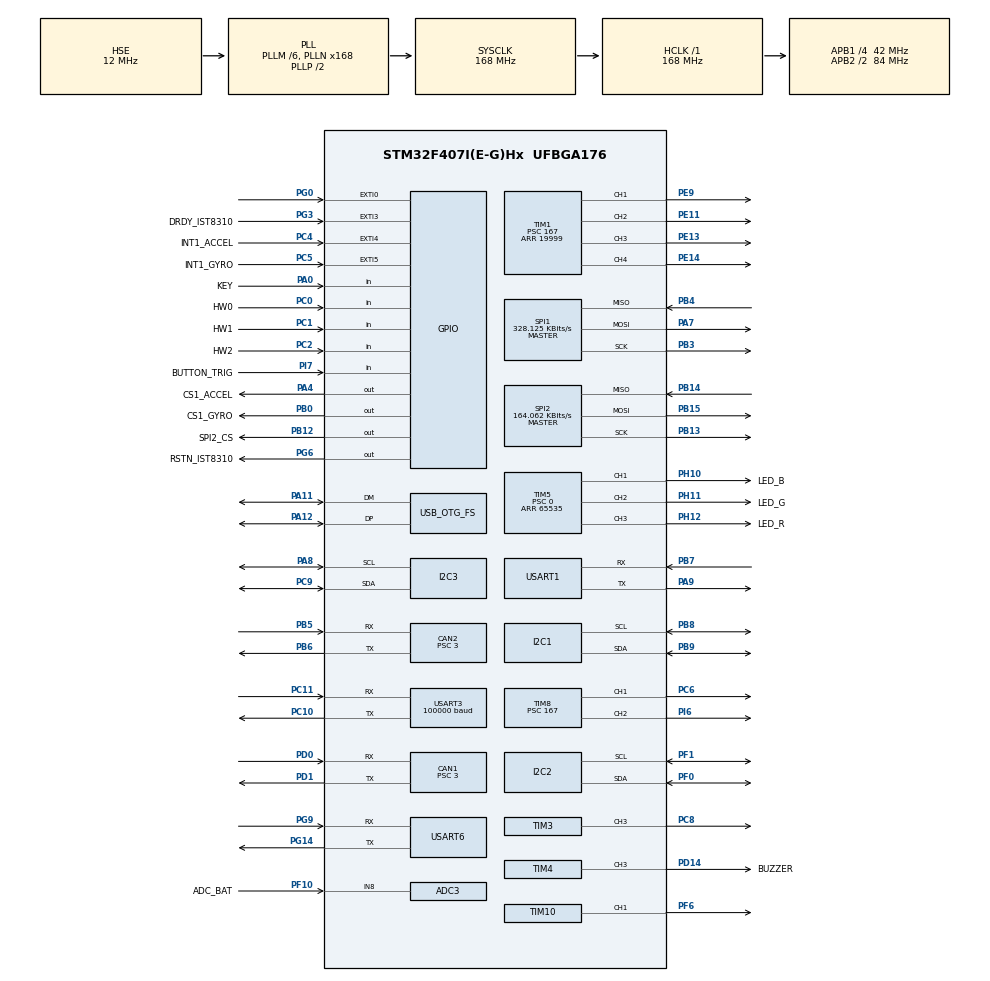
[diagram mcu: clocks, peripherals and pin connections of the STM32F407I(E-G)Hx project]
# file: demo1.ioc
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ADC1.Channel-0\#ChannelRegularConversion=ADC_CHANNEL_TEMPSENSOR
ADC1.ClockPrescaler=ADC_CLOCK_SYNC_PCLK_DIV6
ADC1.NbrOfConversionFlag=1
ADC1.Rank-0\#ChannelRegularConversion=1
ADC1.SamplingTime-0\#ChannelRegularConversion=ADC_SAMPLETIME_3CYCLES
ADC1.master=1
ADC3.Channel-0\#ChannelRegularConversion=ADC_CHANNEL_8
ADC3.ClockPrescaler=ADC_CLOCK_SYNC_PCLK_DIV6
ADC3.NbrOfConversionFlag=1
ADC3.Rank-0\#ChannelRegularConversion=1
ADC3.SamplingTime-0\#ChannelRegularConversion=ADC_SAMPLETIME_3CYCLES
CAN1.BS1=CAN_BS1_10TQ
CAN1.BS2=CAN_BS2_3TQ
CAN1.CalculateTimeQuantum=71.42857142857143
CAN1.Prescaler=3
CAN2.BS1=CAN_BS1_10TQ
CAN2.BS2=CAN_BS2_3TQ
CAN2.CalculateTimeQuantum=71.42857142857143
CAN2.Prescaler=3
Dma.I2C2_TX.2.Direction=DMA_MEMORY_TO_PERIPH
Dma.I2C2_TX.2.FIFOMode=DMA_FIFOMODE_DISABLE
Dma.I2C2_TX.2.Instance=DMA1_Stream7
Dma.I2C2_TX.2.MemDataAlignment=DMA_MDATAALIGN_BYTE
Dma.I2C2_TX.2.MemInc=DMA_MINC_ENABLE
Dma.I2C2_TX.2.Mode=DMA_NORMAL
Dma.I2C2_TX.2.PeriphDataAlignment=DMA_PDATAALIGN_BYTE
Dma.I2C2_TX.2.PeriphInc=DMA_PINC_DISABLE
Dma.I2C2_TX.2.Priority=DMA_PRIORITY_HIGH
Dma.Request0=SPI1_RX
Dma.Request1=SPI1_TX
Dma.Request2=I2C2_TX
Dma.Request3=USART3_RX
Dma.Request4=USART6_RX
Dma.Request5=USART6_TX
Dma.Request6=USART1_TX
Dma.SPI1_RX.0.Direction=DMA_PERIPH_TO_MEMORY
Dma.SPI1_RX.0.FIFOMode=DMA_FIFOMODE_DISABLE
Dma.SPI1_RX.0.Instance=DMA2_Stream2
Dma.SPI1_RX.0.MemDataAlignment=DMA_MDATAALIGN_BYTE
Dma.SPI1_RX.0.MemInc=DMA_MINC_ENABLE
Dma.SPI1_RX.0.Mode=DMA_NORMAL
Dma.SPI1_RX.0.PeriphDataAlignment=DMA_PDATAALIGN_BYTE
Dma.SPI1_RX.0.PeriphInc=DMA_PINC_DISABLE
Dma.SPI1_RX.0.Priority=DMA_PRIORITY_VERY_HIGH
Dma.SPI1_TX.1.Direction=DMA_MEMORY_TO_PERIPH
Dma.SPI1_TX.1.FIFOMode=DMA_FIFOMODE_DISABLE
Dma.SPI1_TX.1.Instance=DMA2_Stream3
Dma.SPI1_TX.1.MemDataAlignment=DMA_MDATAALIGN_BYTE
Dma.SPI1_TX.1.MemInc=DMA_MINC_ENABLE
Dma.SPI1_TX.1.Mode=DMA_NORMAL
Dma.SPI1_TX.1.PeriphDataAlignment=DMA_PDATAALIGN_BYTE
Dma.SPI1_TX.1.PeriphInc=DMA_PINC_DISABLE
Dma.SPI1_TX.1.Priority=DMA_PRIORITY_HIGH
Dma.USART1_TX.6.Direction=DMA_MEMORY_TO_PERIPH
Dma.USART1_TX.6.FIFOMode=DMA_FIFOMODE_DISABLE
Dma.USART1_TX.6.Instance=DMA2_Stream7
Dma.USART1_TX.6.MemDataAlignment=DMA_MDATAALIGN_BYTE
Dma.USART1_TX.6.MemInc=DMA_MINC_ENABLE
Dma.USART1_TX.6.Mode=DMA_NORMAL
Dma.USART1_TX.6.PeriphDataAlignment=DMA_PDATAALIGN_BYTE
Dma.USART1_TX.6.PeriphInc=DMA_PINC_DISABLE
Dma.USART1_TX.6.Priority=DMA_PRIORITY_MEDIUM
Dma.USART3_RX.3.Direction=DMA_PERIPH_TO_MEMORY
Dma.USART3_RX.3.FIFOMode=DMA_FIFOMODE_DISABLE
Dma.USART3_RX.3.Instance=DMA1_Stream1
Dma.USART3_RX.3.MemDataAlignment=DMA_MDATAALIGN_BYTE
Dma.USART3_RX.3.MemInc=DMA_MINC_ENABLE
Dma.USART3_RX.3.Mode=DMA_NORMAL
Dma.USART3_RX.3.PeriphDataAlignment=DMA_PDATAALIGN_BYTE
Dma.USART3_RX.3.PeriphInc=DMA_PINC_DISABLE
Dma.USART3_RX.3.Priority=DMA_PRIORITY_HIGH
Dma.USART6_RX.4.Direction=DMA_PERIPH_TO_MEMORY
Dma.USART6_RX.4.FIFOMode=DMA_FIFOMODE_DISABLE
Dma.USART6_RX.4.Instance=DMA2_Stream1
Dma.USART6_RX.4.MemDataAlignment=DMA_MDATAALIGN_BYTE
Dma.USART6_RX.4.MemInc=DMA_MINC_ENABLE
Dma.USART6_RX.4.Mode=DMA_NORMAL
Dma.USART6_RX.4.PeriphDataAlignment=DMA_PDATAALIGN_BYTE
Dma.USART6_RX.4.PeriphInc=DMA_PINC_DISABLE
Dma.USART6_RX.4.Priority=DMA_PRIORITY_HIGH
Dma.USART6_TX.5.Direction=DMA_MEMORY_TO_PERIPH
Dma.USART6_TX.5.FIFOMode=DMA_FIFOMODE_DISABLE
Dma.USART6_TX.5.Instance=DMA2_Stream6
Dma.USART6_TX.5.MemDataAlignment=DMA_MDATAALIGN_BYTE
Dma.USART6_TX.5.MemInc=DMA_MINC_ENABLE
Dma.USART6_TX.5.Mode=DMA_NORMAL
Dma.USART6_TX.5.PeriphDataAlignment=DMA_PDATAALIGN_BYTE
Dma.USART6_TX.5.PeriphInc=DMA_PINC_DISABLE
Dma.USART6_TX.5.Priority=DMA_PRIORITY_MEDIUM
FREERTOS.INCLUDE_eTaskGetState=1
FREERTOS.INCLUDE_pcTaskGetTaskName=1
FREERTOS.INCLUDE_uxTaskGetStackHighWaterMark=1
FREERTOS.INCLUDE_vTaskCleanUpResources=1
FREERTOS.INCLUDE_vTaskDelayUntil=1
FREERTOS.INCLUDE_xEventGroupSetBitFromISR=1
FREERTOS.INCLUDE_xQueueGetMutexHolder=1
FREERTOS.INCLUDE_xSemaphoreGetMutexHolder=1
FREERTOS.INCLUDE_xTaskAbortDelay=1
FREERTOS.INCLUDE_xTaskGetCurrentTaskHandle=1
FREERTOS.INCLUDE_xTaskGetHandle=1
FREERTOS.INCLUDE_xTimerPendFunctionCall=1
FREERTOS.Tasks01=test,24,128,test_task,As weak,NULL,Dynamic,NULL,NULL
FREERTOS.configTOTAL_HEAP_SIZE=24576
I2C1.I2C_Mode=I2C_Fast
I2C2.I2C_Mode=I2C_Fast
I2C3.I2C_Mode=I2C_Fast
Mcu.Family=STM32F4
Mcu.Name=STM32F407I(E-G)Hx
Mcu.Package=UFBGA176
NVIC.CAN1_RX0_IRQn=true\:6\:0\:true\:false\:true\:true\:true\:true
NVIC.CAN2_RX0_IRQn=true\:6\:0\:true\:false\:true\:true\:true\:true
NVIC.DMA1_Stream1_IRQn=true\:5\:0\:true\:false\:false\:true\:false\:false
NVIC.DMA1_Stream7_IRQn=true\:5\:0\:true\:false\:false\:true\:false\:true
NVIC.DMA2_Stream1_IRQn=true\:5\:0\:true\:false\:true\:true\:false\:true
NVIC.DMA2_Stream2_IRQn=true\:5\:0\:true\:false\:false\:true\:false\:true
NVIC.DMA2_Stream3_IRQn=true\:5\:0\:true\:false\:false\:true\:false\:true
NVIC.DMA2_Stream6_IRQn=true\:5\:0\:true\:false\:true\:true\:false\:true
NVIC.DMA2_Stream7_IRQn=true\:5\:0\:true\:false\:true\:true\:false\:true
NVIC.EXTI0_IRQn=true\:6\:0\:true\:false\:true\:true\:true\:true
NVIC.EXTI3_IRQn=true\:5\:0\:true\:false\:true\:true\:true\:true
NVIC.EXTI4_IRQn=true\:5\:0\:true\:false\:true\:true\:true\:true
NVIC.EXTI9_5_IRQn=true\:5\:0\:true\:false\:true\:true\:true\:true
NVIC.OTG_FS_IRQn=true\:5\:0\:false\:false\:true\:true\:false\:true
NVIC.PriorityGroup=NVIC_PRIORITYGROUP_4
NVIC.USART3_IRQn=true\:4\:0\:true\:false\:false\:false\:true\:true
NVIC.USART6_IRQn=true\:5\:0\:true\:false\:false\:true\:true\:true
PA0-WKUP.GPIO_Label=KEY
PA0-WKUP.GPIO_PuPd=GPIO_PULLUP
PA0-WKUP.Signal=GPIO_Input
PA11.Mode=Device_Only
PA11.Signal=USB_OTG_FS_DM
PA12.Mode=Device_Only
PA12.Signal=USB_OTG_FS_DP
PA13.Mode=Serial_Wire
PA13.Signal=SYS_JTMS-SWDIO
PA14.Mode=Serial_Wire
PA14.Signal=SYS_JTCK-SWCLK
PA4.GPIO_Label=CS1_ACCEL
PA4.GPIO_PuPd=GPIO_PULLUP
PA4.GPIO_Speed=GPIO_SPEED_FREQ_HIGH
PA4.PinState=GPIO_PIN_SET
PA4.Signal=GPIO_Output
PA7.GPIO_PuPd=GPIO_PULLUP
PA7.Mode=Full_Duplex_Master
PA7.Signal=SPI1_MOSI
PA8.Mode=I2C
PA8.Signal=I2C3_SCL
PA9.Mode=Asynchronous
PA9.Signal=USART1_TX
PB0.GPIO_Label=CS1_GYRO
PB0.GPIO_PuPd=GPIO_PULLUP
PB0.GPIO_Speed=GPIO_SPEED_FREQ_HIGH
PB0.PinState=GPIO_PIN_SET
PB0.Signal=GPIO_Output
PB12.GPIO_Label=SPI2_CS
PB12.GPIO_PuPd=GPIO_PULLUP
PB12.GPIO_Speed=GPIO_SPEED_FREQ_MEDIUM
PB12.PinState=GPIO_PIN_SET
PB12.Signal=GPIO_Output
PB13.GPIO_PuPd=GPIO_PULLUP
PB13.Mode=Full_Duplex_Master
PB13.Signal=SPI2_SCK
PB14.GPIO_PuPd=GPIO_PULLUP
PB14.Mode=Full_Duplex_Master
PB14.Signal=SPI2_MISO
PB15.GPIO_PuPd=GPIO_PULLUP
PB15.Mode=Full_Duplex_Master
PB15.Signal=SPI2_MOSI
PB3.GPIO_PuPd=GPIO_PULLUP
PB3.Mode=Full_Duplex_Master
PB3.Signal=SPI1_SCK
PB4.GPIO_PuPd=GPIO_PULLUP
PB4.Mode=Full_Duplex_Master
PB4.Signal=SPI1_MISO
PB5.Mode=Slave
PB5.Signal=CAN2_RX
PB6.Mode=Slave
PB6.Signal=CAN2_TX
PB7.Mode=Asynchronous
PB7.Signal=USART1_RX
PB8.Mode=I2C
PB8.Signal=I2C1_SCL
PB9.Mode=I2C
PB9.Signal=I2C1_SDA
PC0.GPIO_Label=HW0
PC0.Signal=GPIO_Input
PC1.GPIO_Label=HW1
PC1.Signal=GPIO_Input
PC10.Mode=Asynchronous
PC10.Signal=USART3_TX
PC11.Mode=Asynchronous
PC11.Signal=USART3_RX
PC2.GPIO_Label=HW2
PC2.Signal=GPIO_Input
PC4.GPIO_Label=INT1_ACCEL
PC4.GPIO_ModeDefaultEXTI=GPIO_MODE_IT_FALLING
PC4.GPIO_PuPd=GPIO_PULLUP
PC4.Signal=GPXTI4
PC5.GPIO_Label=INT1_GYRO
PC5.GPIO_ModeDefaultEXTI=GPIO_MODE_IT_FALLING
PC5.GPIO_PuPd=GPIO_PULLUP
PC5.Signal=GPXTI5
PC6.GPIO_PuPd=GPIO_PULLUP
PC6.GPIO_Speed=GPIO_SPEED_FREQ_HIGH
PC6.Signal=S_TIM8_CH1
PC8.GPIO_PuPd=GPIO_PULLUP
PC8.GPIO_Speed=GPIO_SPEED_FREQ_HIGH
PC8.Signal=S_TIM3_CH3
PC9.Mode=I2C
PC9.Signal=I2C3_SDA
PD0.Mode=Master
PD0.Signal=CAN1_RX
PD1.Mode=Master
PD1.Signal=CAN1_TX
PD14.GPIO_Label=BUZZER
PD14.GPIO_PuPd=GPIO_PULLUP
PD14.GPIO_Speed=GPIO_SPEED_FREQ_VERY_HIGH
PD14.Signal=S_TIM4_CH3
PE11.GPIO_PuPd=GPIO_PULLUP
PE11.GPIO_Speed=GPIO_SPEED_FREQ_HIGH
PE11.Signal=S_TIM1_CH2
PE13.GPIO_PuPd=GPIO_PULLUP
PE13.GPIO_Speed=GPIO_SPEED_FREQ_HIGH
PE13.Signal=S_TIM1_CH3
PE14.GPIO_PuPd=GPIO_PULLUP
PE14.GPIO_Speed=GPIO_SPEED_FREQ_HIGH
PE14.Signal=S_TIM1_CH4
PE9.GPIO_PuPd=GPIO_PULLUP
PE9.GPIO_Speed=GPIO_SPEED_FREQ_HIGH
PE9.Signal=S_TIM1_CH1
PF0.Mode=I2C
PF0.Signal=I2C2_SDA
PF1.Mode=I2C
PF1.Signal=I2C2_SCL
PF10.GPIO_Label=ADC_BAT
PF10.Mode=IN8
PF10.Signal=ADC3_IN8
PF6.GPIO_PuPd=GPIO_PULLUP
PF6.GPIO_Speed=GPIO_SPEED_FREQ_HIGH
PF6.Signal=S_TIM10_CH1
PG0.GPIO_ModeDefaultEXTI=GPIO_MODE_IT_FALLING
PG0.GPIO_PuPd=GPIO_PULLUP
PG0.Signal=GPXTI0
PG14.Mode=Asynchronous
PG14.Signal=USART6_TX
PG3.GPIO_Label=DRDY_IST8310
PG3.GPIO_ModeDefaultEXTI=GPIO_MODE_IT_FALLING
PG3.GPIO_PuPd=GPIO_PULLUP
PG3.Signal=GPXTI3
PG6.GPIO_Label=RSTN_IST8310
PG6.GPIO_PuPd=GPIO_PULLUP
PG6.GPIO_Speed=GPIO_SPEED_FREQ_MEDIUM
PG6.PinState=GPIO_PIN_SET
PG6.Signal=GPIO_Output
PG9.Mode=Asynchronous
PG9.Signal=USART6_RX
PH0-OSC_IN.Mode=HSE-External-Oscillator
PH0-OSC_IN.Signal=RCC_OSC_IN
PH1-OSC_OUT.Mode=HSE-External-Oscillator
PH1-OSC_OUT.Signal=RCC_OSC_OUT
PH10.GPIO_Label=LED_B
PH10.GPIO_PuPd=GPIO_PULLUP
PH10.GPIO_Speed=GPIO_SPEED_FREQ_HIGH
PH10.Signal=S_TIM5_CH1
PH11.GPIO_Label=LED_G
PH11.GPIO_PuPd=GPIO_PULLUP
PH11.GPIO_Speed=GPIO_SPEED_FREQ_HIGH
PH11.Signal=S_TIM5_CH2
PH12.GPIO_Label=LED_R
PH12.GPIO_PuPd=GPIO_PULLUP
PH12.GPIO_Speed=GPIO_SPEED_FREQ_HIGH
PH12.Signal=S_TIM5_CH3
PI6.GPIO_PuPd=GPIO_PULLUP
PI6.GPIO_Speed=GPIO_SPEED_FREQ_HIGH
PI6.Signal=S_TIM8_CH2
PI7.GPIO_Label=BUTTON_TRIG
PI7.GPIO_PuPd=GPIO_PULLUP
PI7.Signal=GPIO_Input
ProjectManager.HeapSize=0x2000
ProjectManager.StackSize=0x2000
ProjectManager.TargetToolchain=SW4STM32
RCC.48MHZClocksFreq_Value=48000000
RCC.AHBFreq_Value=168000000
RCC.APB1CLKDivider=RCC_HCLK_DIV4
RCC.APB1Freq_Value=42000000
RCC.APB1TimFreq_Value=84000000
RCC.APB2CLKDivider=RCC_HCLK_DIV2
RCC.APB2Freq_Value=84000000
RCC.APB2TimFreq_Value=168000000
RCC.CortexFreq_Value=168000000
RCC.HCLKFreq_Value=168000000
RCC.HSE_VALUE=12000000
RCC.HSI_VALUE=16000000
RCC.LSE_VALUE=32768
RCC.PLLM=6
RCC.PLLN=168
RCC.PLLQ=7
RCC.RCC_RTC_Clock_SourceVirtual=RCC_RTCCLKSOURCE_HSE_DIV30
RCC.RCC_RTC_Clock_Source_FROM_HSE=RCC_RTCCLKSOURCE_HSE_DIV30
RCC.SYSCLKFreq_VALUE=168000000
RCC.SYSCLKSource=RCC_SYSCLKSOURCE_PLLCLK
RCC.VCOOutputFreq_Value=336000000
RTC.AsynchPrediv=124
RTC.SynchPrediv=3199
SH.S_TIM10_CH1.0=TIM10_CH1,PWM Generation1 CH1
SH.S_TIM1_CH1.0=TIM1_CH1,PWM Generation1 CH1
SH.S_TIM1_CH2.0=TIM1_CH2,PWM Generation2 CH2
SH.S_TIM1_CH3.0=TIM1_CH3,PWM Generation3 CH3
SH.S_TIM1_CH4.0=TIM1_CH4,PWM Generation4 CH4
SH.S_TIM3_CH3.0=TIM3_CH3,PWM Generation3 CH3
SH.S_TIM4_CH3.0=TIM4_CH3,PWM Generation3 CH3
SH.S_TIM5_CH1.0=TIM5_CH1,PWM Generation1 CH1
SH.S_TIM5_CH2.0=TIM5_CH2,PWM Generation2 CH2
SH.S_TIM5_CH3.0=TIM5_CH3,PWM Generation3 CH3
SH.S_TIM8_CH1.0=TIM8_CH1,PWM Generation1 CH1
SH.S_TIM8_CH2.0=TIM8_CH2,PWM Generation2 CH2
SPI1.BaudRatePrescaler=SPI_BAUDRATEPRESCALER_256
SPI1.CLKPhase=SPI_PHASE_2EDGE
SPI1.CLKPolarity=SPI_POLARITY_HIGH
SPI1.CalculateBaudRate=328.125 KBits/s
SPI1.Direction=SPI_DIRECTION_2LINES
SPI1.Mode=SPI_MODE_MASTER
SPI1.VirtualType=VM_MASTER
SPI2.BaudRatePrescaler=SPI_BAUDRATEPRESCALER_256
SPI2.CLKPhase=SPI_PHASE_2EDGE
SPI2.CLKPolarity=SPI_POLARITY_HIGH
SPI2.CalculateBaudRate=164.062 KBits/s
SPI2.Direction=SPI_DIRECTION_2LINES
SPI2.Mode=SPI_MODE_MASTER
SPI2.VirtualType=VM_MASTER
TIM1.Channel-PWM\ Generation1\ CH1=TIM_CHANNEL_1
TIM1.Channel-PWM\ Generation2\ CH2=TIM_CHANNEL_2
TIM1.Channel-PWM\ Generation3\ CH3=TIM_CHANNEL_3
TIM1.Channel-PWM\ Generation4\ CH4=TIM_CHANNEL_4
TIM1.Period=19999
TIM1.Prescaler=167
TIM1.Pulse-PWM\ Generation1\ CH1=1000
TIM1.Pulse-PWM\ Generation2\ CH2=1000
TIM1.Pulse-PWM\ Generation3\ CH3=1000
TIM1.Pulse-PWM\ Generation4\ CH4=1000
TIM10.Channel=TIM_CHANNEL_1
TIM10.Period=4999
TIM3.Channel-PWM\ Generation3\ CH3=TIM_CHANNEL_3
TIM3.Period=8399
TIM4.Channel-PWM\ Generation3\ CH3=TIM_CHANNEL_3
TIM4.Period=65535
TIM4.Prescaler=167
TIM5.Channel-PWM\ Generation1\ CH1=TIM_CHANNEL_1
TIM5.Channel-PWM\ Generation2\ CH2=TIM_CHANNEL_2
TIM5.Channel-PWM\ Generation3\ CH3=TIM_CHANNEL_3
TIM5.Period=65535
TIM5.Prescaler=0
TIM8.Channel-PWM\ Generation1\ CH1=TIM_CHANNEL_1
TIM8.Channel-PWM\ Generation2\ CH2=TIM_CHANNEL_2
TIM8.Period=19999
TIM8.Prescaler=167
TIM8.Pulse-PWM\ Generation1\ CH1=1000
TIM8.Pulse-PWM\ Generation2\ CH2=1000
USART1.VirtualMode=VM_ASYNC
USART3.BaudRate=100000
USART3.Parity=PARITY_EVEN
USART3.VirtualMode=VM_ASYNC
USART6.VirtualMode=VM_ASYNC
USB_DEVICE.CLASS_NAME_FS=CDC
USB_DEVICE.VirtualMode-CDC_FS=Cdc
USB_DEVICE.VirtualModeFS=Cdc_FS
USB_OTG_FS.VirtualMode=Device_Only
VP_ADC1_TempSens_Input.Mode=IN-TempSens
VP_ADC1_Vref_Input.Mode=IN-Vrefint
VP_CRC_VS_CRC.Mode=CRC_Activate
VP_FREERTOS_VS_CMSIS_V1.Mode=CMSIS_V1
VP_RNG_VS_RNG.Mode=RNG_Activate
VP_RTC_VS_RTC_Activate.Mode=RTC_Enabled
VP_TIM10_VS_ClockSourceINT.Mode=Enable_Timer
VP_TIM1_VS_ClockSourceINT.Mode=Internal
VP_TIM3_VS_ClockSourceINT.Mode=Internal
VP_TIM4_VS_ClockSourceINT.Mode=Internal
VP_TIM5_VS_ClockSourceINT.Mode=Internal
VP_TIM8_VS_ClockSourceINT.Mode=Internal
VP_USB_DEVICE_VS_USB_DEVICE_CDC_FS.Mode=CDC_FS
board=custom

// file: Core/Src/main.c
/* USER CODE BEGIN Header */

//%%88888888888888888888888888888888888888888888888888888888888888888888888888888%%%%%%%%%%%%%%%%%%%%%%%%%%%%%%%%%%%
//%%BBBBBBBBBBBBBBBBBBBBBBBBBBBBBBBBBBBBBBBBBBBBBBBBBBBBBBBBBBBBBBBBBBBBBBB%%%%%%%%%%%%%%%%%%%%%%%%%%%%%%%%%%%%%%%%%
//%%%%%%%%%%%%%%%%%%%%%%%%%%%%%%%%%%%%%%%%%%%%%%%%%%%%%%8%&%BB%B%8%%%%%%%%%%%%%%%%%%%%%%%%%%%%%%%%%%%%%%%%%%%%%%%%%%
//%%%%%%%%%%%%%%%%%%%%%%%%%%%%%%%%%%%%%%%%%%%%%%%%%%%%%%%i. .  `iJ8B8B%%%%%%%%%%%%%%%%%%%%%%%%%%%%%%%%%%%%%%%%%%%%%%
//%%%%%%%%%%%%%%%%%%%%%%%%%%%%%%%%%%%%%%%%%%%%%%%%%B8%%Bw''.  '.''`q%%%%%%%%%%%%%%%%%%%%%%%%%%%%%%%%%%%%%%%%%%%%%%%%
//%%%%%%%%%%%%%%%%%%%%%%%%%%%%%%%%%%%%%%%%%%%%%%%%%%%BB].. .......'.w$%%%%%%%%%%%%%%%%%%%%%%%%%%%%%%%%%%%%%%%%%%%%%%
//%%%%%%%%%%%%%%%%%%%%%%%%%%%%%%%%%%%%%%%%%%%%%%%%%%BBm^'.........`+B8B%%%%%%%%%%%%%%%%%%%%%%%%%%%%%%%%%%%%%%%%%%%%%
//%%%%%%%%%%%%%%%%%%%%%%%%%%%%%%%%%%%%%%%%%%%%%%%%%%88' .........."B%BB%%%%%%%%%%%%%%%%%%%%%%%%%%%%%%%%%%%%%%%%%%%%%
//%%%%%%%%%%%%%%%%%%%%%%%%%%%%%%%%%%%%%%%%%%%%%%%%%8Bf .........'.0&88%%%%%%%%%%%%%%%%%%%%%%%%%%%%%%%%%%%%%%%%%%%%%%
//%%%%%%%%%%%%%%%%%%%%%%%%%%B&@8B%8%%%%%%%%%%%%BB8%%w  ........`]CB%%%%%%%%%%%%%%%%%%%%%%%%%%%%%%%%%%%%%%%%%%%%%%%%%
//%%%%%%%%%%%%%%%%%%%%%%%%%%BW@%B%8%%%%%%%%%%%%%%%@~  . .......^88%%%%%%%%%%%%%%%%%%%%%%%%%%%%%%%%%%%%%%%%%%%%%%%%%%
//%%%%%%%%%%%%%%%%%%%%%BB%8%%8#>d8%%$%8%%%%%%%B8%%b. ........  #8%%%%%8%%}}C,UWW%%%%%%%%%%%%%%%%%%%%%%%%%%%%%%%%%%%%
//%%%%%%%%%%%%%%%%%%%%%W&%pl` ''''`[LB%%BZq-x{Z@BJ   ..... ..lJ%%B}C}W%W*`...... ]8$%%%%B%%%%%%%%%%%%%%%%%%%%%%%%%%%
//%%%%%%%%%%%%%%%%%%%%%O`'`'.    . '  '.'^ ?%%B%b:. ...... ..&@%%B~.... .. .....^` `w#&%%%%%%%%%%%%%%%%%%%%%%%%%%%%%
//%%%%%%%%%%%%%%%%%%%%%%W`.'..'    ... .'.X{BB%L..   ...  ..O%8BBz..            ..:C%%%%%%%%%%%%%%%%%%%%%%%%%%%%%%%%
//%%%%%%%%%%%%%%%%%%%%%%BB_'......... ' `w@%B%B`  `......`Ib@%%&%JI .           ..QBB%%%%%%%%%%%%%%%%%%%%%%%%%%%%%%%
//%%%%%%%%%%%%%%%%%%%%%%J' ..... '. Ih@#BB%%{a'  .......'"&}BBBBBBB%B%%hu '.    . ''Q$&%B%%%%%%%%%%%%%%%%%%%%%%%%%%%
//%%%%%%%%B%%%%%%%8%8%b^''..' . "+{WW8%%%%&%J       .....0@BBBBBBB%%%%BB%B$w .'.     'h8%%%%B%%%B%%%%%%%%%%%%%%%%%%%
//%%%%%%%%%@^ .'''"..''.''.'.''M%#8B%%%%%%8M`'..     ...h%BBBBB%%%%%%%BBB%BB%C[`   .. '','''.'` B%%%%%%%%%%%%%%%%%%%
//%%%%%%%%Bj`    .'. '......^B%B%%%%%%%%%%k"'.'       ,M@BBB&%%BBBB8%&ZUYhaw#%&W'`  ...........' 8%%%%%%%%%%%%%%%%%%
//%%%%%%%8L``'.   '    . ^`?@%%8%%%%%%B%8L` '        ''.'...'...........'..z@BB@BL.'...        .`_Z%%%%%%%%%%%%%%%%%
//%%%%%%%m;`''''''......."&8%%8%%%%%%%%B%` .       . . .'.  .......    '.'C%%BB%B&J'         ..'':_%@%%%%%%%%%%%%%%%
//%%%%%%%%B%%%%%o ..... .v%B%%%%%%%%%BB%'^..                          .''J&88%%%B%8t.....   0&@88%8%%%%%%%%%%%%%%%%%
//%%%%%%%%%%%%%%f      .'$B%%%%%%%%%%8Q+'. . ... '''..    '`^.`.        a8&8%8%%%%B$`.......kB%%888%%%%%%%%%%%%%%%%%
//%%%%%%%%%%%%%%+'      ^B%%%%%%%%8%%&.'  . '';Y%%%8%BB%BBBBb  . . .   08BB88%%%%%%}'.     .n%88888%%%%%%%%%%%%%%%%%
//%%%%%%%%%%%%B8h^      'MB8%%%%%%%8%:.   ......^u&%%B%%BB&h       '.'q%8%%%%%%%%%BZ'.   . .bB88888%%%%%%%%%%%%%%%%%
//%%%%%%%W%$MQh:..     .._B%%%%%%%B#j       .  .U%%88888BB!..    ... v%8%%%%%%%%%%Bl     .'''nw&W@$%%%%%%%%%%%%%%%%%
//%%%%%%%#+''.''`'''... . *$%%%%%%W''        . zB%%%8888B<'`    ....J&8%%%%%%%%%BBw.      ...'.',.b%%%%%%%%%%%%%%%%%
//%%%%%%%B8l.............'."O@%%8W^.  ..     :u&%&%B%%%p' '''..   .bBW%%%%%%%%%%C+.'     ....... %W%%%%%%%%%%%%%%%%%
//%%%%%%%%%&..'.''. `  ..''' n&%QnkhJM&8B@BBB%%88%8888q...        o%88%%%%%%%&%]`.. ...  .  .  'M&%%%%%%%%%%%%%%%%%%
//%%%%%%%B%@ZadJLO888h`'''..   ;%@8%BB%%8&8%%888888%%Q'..       '+&8%%%%%%%W@l. .. .'''C%BW0Xkkq%%%%%%%%%%%%%%%%%%%%
//%%%%%%%%%%%%B%%B%8%BWQ '.''''' `>{BW%%B8%%%%%8888BZ`'.     . 'q88%BB%B8B!^. ..'... [&%%BBB%%%%%%%%%%%%%%%%%%%%%%%%
//%%%%%%%%%%%%%%B%8%%8%%Bk .'''''`.^`'xY8%%%%%%%%%8f ^       . r$8%%&Bt`^   .. ... Y@&88%%%%8%%%%%%%%%%%%%%%%%%%%%%%
//%%%%%%%%%%%B%%%%B%8B%8%Wl^'.. ......  ''',[J&%8Bv` .       .,%8%_.`' .....   . 'Z&88%%%%%%%%%%%%%%%%%%%%%%%%%%%%%%
//%%B%%%%%%%%%%%%%%%%%%@k'`''........ .   . +B%%X!.        ..b}%al    '... .    '.`tBB8%%%%%%%%%%%%%%%%%%%%%%%%%%%%%
//%%%%%%%%%%%%%%%%%%%8B{~''`'........:j,'.']BBBJ. .     ..  v%@q ^  '``... .     '.'L8%%%%%%%%%%%%%%%%%%%%%%%%%%%%%%
//%%%%%%%%%%%%%%%%%%%%%@%&BQ` ''  ,#%B%8BB&8B&0' .      ..'<&8&888%88&%%Bu     'w#$%8%%%%%%%%%%%%%%%%%%%%%%%%%%%%%%%
//%%%%%%B%%%%%%%%%%%%%%%%%%%88WkMB8%%%%%%%%%%f'          .b%8%%%%%%%%%%%%8%@mW@B%%%%%%%%%%%%%%%%%%%%%%%%%%%%%%%%%%%%
//%%%%%%%%%%%%%%%%%%%%%%%%%%8B%%%B%%8%%%%%B%x`.        . -B8%%%%%%%%%%%B&8%%%%%B%%%%%%%%%%%%%%%%%%%%%%%%%%%%%%%%%%%%
//%%%%%%B%%%%%%%%%%%%%%%%%%%%%%%%%%%%%%%%%#z'`.      .' .B&B8%%%%%%%%%%%%%%%%%%%%%%%%%%%%%%%%%%%%%%%%%%%%%%%%%%%%%%%
//B%%%%%%%%%%%%%%%%%%%%%%%%%%%%%%%%%%%8B@M` ..      . ^nOB%%%%%%%%%%%%%%%%%%%%%%%%%%%%%%%%%%%%%%%%%%%%%%%%%%%%%%%%%%
//%%%%%%%%%%%%%%%%%%%%%%%%%%%%%%%%%%%%%%C'.. .     ..']%B%%%8%%%%%%%%%%%%%%%%%%%%%%%%%%%%%%%%%%%%%%%%%%%%%%%%%%%%%%%
//%%%%%%%%%%%%%%%%%%%%%%%%%%%%%%%%%%%BB#....        ' BB%%%%%%%%%%%%%%%%%%%%%%%%%%%%%%%%%%%%%%%%%%%%%%%%%%%%%%%%%%%%
//%%%%%%%%%%%%%%%%%%%%%%%%%%%%%%%%%%%%%Bq .   .    ' Q%BB%%%%%%%%%%%%%%%%%%%%%%%%%%%%%%%%%%%%%%%%%%%%%%%%%%%%%%%%%%%
//%%%%%%%%%%%%%%%%%%%%%%%%%%%%%%%%%%%88888] .^^.   "p@B%%%%%%%%%%%%%%%%%%%%%%%%%%%%%%%%%%%%%%%%%%%%%%%%%%%%%%%%%%%%%
//%%%%%%%%%%%%%%%%%%%%%%%%%%%%%%%%%%%%B%%B%$d'"  ^.&BB8%%%%%%%%%%%%%%%%%%%%%%%%%%%%%%%%%%%%%%%%%%%%%%%%%%%%%%%%%%%%%
//%%%%%%%%%%%%%%%%%%%%%%%%%%%%%%%%%%%%%%%%BB%8M '^hB%8%88%%%%%%%%%%%%%%%%%%%%%%%%%%%%%%%%%%%%%%%%%%%%%%%%%%%%%%%%%%%
//%%%%%%%%%%%%%%%%%%%%%%%%%%%%%%%%%%%%%%%%B88%%%%W&%%%%%%%%%%%%%%%%%%%%%%%%%%%%%%%%%%%%%%%%%%%%%%%%%%%%%%%%%%%%%%%%%
//%%%%%%%%%%%%%%%%%%%%%%%%%%%%%%%%%%%%%%%%%%%%%%%%%%%%%%%%%%%%%%%%%%%%%%%%%%%%%%%%%%%%%%%%%%%%%%%%%%%%%%%%%%%%%%%%%%
//%%%%%%%%%%%%%%%%%%%%%%%%%%%%%%%%%%%%%%%%%%%%%%%%%%%%%%%%%%%%%%%%%%%%%%%%%%%%%%%%%%%%%%%%%%%%%%%%%%%%%%%%%%%%%%%%%%

/* USER CODE END Header */

#include "main.h"
#include "cmsis_os.h"
#include "adc.h"
#include "can.h"
#include "crc.h"
#include "dma.h"
#include "i2c.h"
#include "rng.h"
#include "rtc.h"
#include "spi.h"
#include "tim.h"
#include "usart.h"
#include "usb_device.h"
#include "gpio.h"

/* USER CODE BEGIN Includes */
#include "bsp_can.h"
#include "bsp_delay.h"
#include "bsp_usart.h"
#include "remote.h"
#include "Referee.h"
#include "Auto.h"
//#include "remote_control.h"
//
#include "Calibrate.h"
//#include "chassis_task.h"
//#include "detect_task.h"
//#include "gimbal_task.h"
//#include "INS_task.h"
//#include "led_flow_task.h"
//#include "oled_task.h"
//#include "referee_usart_task.h"
//#include "usb_task.h"
//#include "voltage_task.h"
/* USER CODE END Includes */

void SystemClock_Config(void);
void MX_FREERTOS_Init(void);

/**
  * @brief  The App entry point.
  * @retval int
  */
int main(void)
{

  /* MCU Configuration--------------------------------------------------------*/

  /* Reset of all peripherals, Initializes the Flash interface and the Systick. */
  HAL_Init();

  /* Configure the system clock */
  SystemClock_Config();

  /* Initialize all configured peripherals */
  MX_GPIO_Init();
  MX_DMA_Init();
  MX_ADC1_Init();
  MX_ADC3_Init();
  MX_CAN1_Init();
  MX_CAN2_Init();
  MX_I2C1_Init();
  MX_SPI1_Init();
  MX_TIM4_Init();
  MX_TIM5_Init();
  MX_USART3_UART_Init();
  MX_TIM8_Init();
  MX_CRC_Init();
  MX_RNG_Init();
  MX_I2C2_Init();
  MX_I2C3_Init();
  MX_RTC_Init();
  MX_SPI2_Init();
  MX_TIM1_Init();
  MX_TIM3_Init();
  MX_TIM10_Init();
  MX_USART1_UART_Init();
  MX_USART6_UART_Init();
  /* USER CODE BEGIN 2 */
    can_filter_init();
    delay_init();
    usart6_init(&usart6_buf[0], REFEREE_BUFFER_SIZE);
    usart1_init(&usart1_receive_buf[0], VISION_BUFFER_SIZE);
    cali_param_init();
    remote_control_init();

  /* USER CODE END 2 */

  /* Call init function for freertos objects (in freertos.c) */
  MX_FREERTOS_Init();

  /* Start scheduler */
  osKernelStart();

  /* We should never get here as control is now taken by the scheduler */

  /* Infinite loop */
  while (1)
  {

  }
}

void SystemClock_Config(void)
{
  RCC_OscInitTypeDef RCC_OscInitStruct = {0};
  RCC_ClkInitTypeDef RCC_ClkInitStruct = {0};
  RCC_PeriphCLKInitTypeDef PeriphClkInitStruct = {0};

  /** Configure the main internal regulator output voltage
  */
  __HAL_RCC_PWR_CLK_ENABLE();
  __HAL_PWR_VOLTAGESCALING_CONFIG(PWR_REGULATOR_VOLTAGE_SCALE1);
  /** Initializes the CPU, AHB and APB busses clocks
  */
  RCC_OscInitStruct.OscillatorType = RCC_OSCILLATORTYPE_HSE;
  RCC_OscInitStruct.HSEState = RCC_HSE_ON;
  RCC_OscInitStruct.PLL.PLLState = RCC_PLL_ON;
  RCC_OscInitStruct.PLL.PLLSource = RCC_PLLSOURCE_HSE;
  RCC_OscInitStruct.PLL.PLLM = 6;
  RCC_OscInitStruct.PLL.PLLN = 168;
  RCC_OscInitStruct.PLL.PLLP = RCC_PLLP_DIV2;
  RCC_OscInitStruct.PLL.PLLQ = 7;
  if (HAL_RCC_OscConfig(&RCC_OscInitStruct) != HAL_OK)
  {
    Error_Handler();
  }
  /** Initializes the CPU, AHB and APB busses clocks
  */
  RCC_ClkInitStruct.ClockType = RCC_CLOCKTYPE_HCLK|RCC_CLOCKTYPE_SYSCLK
                              |RCC_CLOCKTYPE_PCLK1|RCC_CLOCKTYPE_PCLK2;
  RCC_ClkInitStruct.SYSCLKSource = RCC_SYSCLKSOURCE_PLLCLK;
  RCC_ClkInitStruct.AHBCLKDivider = RCC_SYSCLK_DIV1;
  RCC_ClkInitStruct.APB1CLKDivider = RCC_HCLK_DIV4;
  RCC_ClkInitStruct.APB2CLKDivider = RCC_HCLK_DIV2;

  if (HAL_RCC_ClockConfig(&RCC_ClkInitStruct, FLASH_LATENCY_5) != HAL_OK)
  {
    Error_Handler();
  }
  PeriphClkInitStruct.PeriphClockSelection = RCC_PERIPHCLK_RTC;
  PeriphClkInitStruct.RTCClockSelection = RCC_RTCCLKSOURCE_HSE_DIV30;
  if (HAL_RCCEx_PeriphCLKConfig(&PeriphClkInitStruct) != HAL_OK)
  {
    Error_Handler();
  }
}

void Error_Handler(void)
{
}

/************************ (C) COPYRIGHT STMicroelectronics *****END OF FILE****/

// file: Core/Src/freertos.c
/* USER CODE BEGIN Header */
/**
  ******************************************************************************
  * File Name          : freertos.c
  * Description        : Code for freertos applications
  ******************************************************************************
  * @attention
  *
  * <h2><center>&copy; Copyright (c) 2019 STMicroelectronics.
  * All rights reserved.</center></h2>
  *
  * This software component is licensed by ST under Ultimate Liberty license
  * SLA0044, the "License"; You may not use this file except in compliance with
  * the License. You may obtain a copy of the License at:
  *                             www.st.com/SLA0044
  *
  ******************************************************************************
  */
/* USER CODE END Header */

#include "can_receive.h"
#include "bsp_buzzer.h"
#include "FreeRTOS.h"
#include "task.h"
#include "main.h"
#include "cmsis_os.h"

/* USER CODE BEGIN Includes */
#include "Atti.h"
#include "Calibrate.h"
#include "Chassis.h"
#include "Gimbal.h"
#include "Auto.h"
#include "Detection.h"
//#include "INS_task.h"
//#include "led_flow_task.h"
//#include "oled_task.h"
#include "Referee.h"
//#include "usb_task.h"
//#include "voltage_task.h"
//#include "servo_task.h"
//#include "remote.h"
/* USER CODE END Includes */

/* USER CODE BEGIN PTD */

osThreadId calibrate_tast_handle;
osThreadId detectTaskHandle;
osThreadId chassisTaskHandle;
osThreadId gimbalTaskHandle;
osThreadId imuTaskHandle;
osThreadId led_RGB_flow_handle;
osThreadId oled_handle;
osThreadId refereeTaskHandle;
osThreadId usb_task_handle;
osThreadId battery_voltage_handle;
osThreadId servo_task_handle;
osThreadId UI_task_handle;
osThreadId auto_task_handle;
/* USER CODE END PTD */

/* USER CODE BEGIN Variables */
//extern RC_ctrl_t rc_ctrl;
/* USER CODE END Variables */
osThreadId testHandle;

void test_task(void const * argument);

extern void MX_USB_DEVICE_Init(void);
void MX_FREERTOS_Init(void); /* (MISRA C 2004 rule 8.1) */

/* GetIdleTaskMemory prototype (linked to static allocation support) */
void vApplicationGetIdleTaskMemory( StaticTask_t **ppxIdleTaskTCBBuffer, StackType_t **ppxIdleTaskStackBuffer, uint32_t *pulIdleTaskStackSize );

/* GetTimerTaskMemory prototype (linked to static allocation support) */
void vApplicationGetTimerTaskMemory( StaticTask_t **ppxTimerTaskTCBBuffer, StackType_t **ppxTimerTaskStackBuffer, uint32_t *pulTimerTaskStackSize );

/* USER CODE BEGIN GET_IDLE_TASK_MEMORY */
static StaticTask_t xIdleTaskTCBBuffer;
static StackType_t xIdleStack[configMINIMAL_STACK_SIZE];

void vApplicationGetIdleTaskMemory( StaticTask_t **ppxIdleTaskTCBBuffer, StackType_t **ppxIdleTaskStackBuffer, uint32_t *pulIdleTaskStackSize )
{
  *ppxIdleTaskTCBBuffer = &xIdleTaskTCBBuffer;
  *ppxIdleTaskStackBuffer = &xIdleStack[0];
  *pulIdleTaskStackSize = configMINIMAL_STACK_SIZE;
  /* place for user code */
}
/* USER CODE END GET_IDLE_TASK_MEMORY */

/* USER CODE BEGIN GET_TIMER_TASK_MEMORY */
static StaticTask_t xTimerTaskTCBBuffer;
static StackType_t xTimerStack[configTIMER_TASK_STACK_DEPTH];

void vApplicationGetTimerTaskMemory( StaticTask_t **ppxTimerTaskTCBBuffer, StackType_t **ppxTimerTaskStackBuffer, uint32_t *pulTimerTaskStackSize )
{
  *ppxTimerTaskTCBBuffer = &xTimerTaskTCBBuffer;
  *ppxTimerTaskStackBuffer = &xTimerStack[0];
  *pulTimerTaskStackSize = configTIMER_TASK_STACK_DEPTH;
  /* place for user code */
}
/* USER CODE END GET_TIMER_TASK_MEMORY */

void MX_FREERTOS_Init(void) {

  /* Create the thread(s) */
  /* definition and creation of test */

  /* USER CODE BEGIN RTOS_THREADS */
  /* add threads, ... */
    osThreadDef(CalibrateTask, calibrate_task, osPriorityNormal, 0, 512);
    calibrate_tast_handle = osThreadCreate(osThread(CalibrateTask), NULL);

    osThreadDef(ChassisTask, chassis_task, osPriorityAboveNormal, 0, 512);
    chassisTaskHandle = osThreadCreate(osThread(ChassisTask), NULL);

//    osThreadDef(UIPaintTask, UI_paint_task,osPriorityNormal,0,256);
//    UI_task_handle= osThreadCreate(osThread(UIPaintTask),NULL);

    osThreadDef(GimbalTask, gimbal_task, osPriorityHigh, 0, 512);
    gimbalTaskHandle = osThreadCreate(osThread(GimbalTask), NULL);
//
    osThreadDef(ImuTask, INS_task, osPriorityRealtime, 0, 1024);
    imuTaskHandle = osThreadCreate(osThread(ImuTask), NULL);

//    osThreadDef(AutoTask, auto_task, osPriorityNormal, 0, 256);
//    auto_task_handle = osThreadCreate(osThread(AutoTask), NULL);

    osThreadDef(DetectTask, detect_task,osPriorityHigh,0,128);
    detectTaskHandle= osThreadCreate(osThread(DetectTask),NULL);

  /* USER CODE END RTOS_THREADS */

}

__weak void test_task(void const * argument)
{
  /* init code for USB_DEVICE */
  MX_USB_DEVICE_Init();

  /* USER CODE BEGIN test_task */
  /* Infinite loop */
  for(;;)
  {
      osDelay(10);
  }
  /* USER CODE END test_task */
}

/************************ (C) COPYRIGHT STMicroelectronics *****END OF FILE****/
